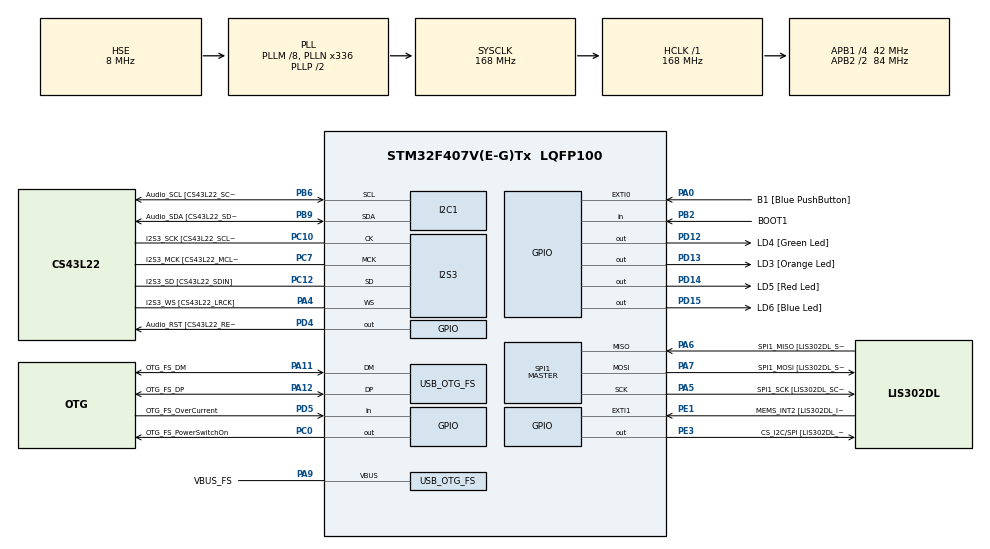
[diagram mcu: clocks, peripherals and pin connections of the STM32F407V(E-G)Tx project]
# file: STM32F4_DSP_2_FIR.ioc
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Dma.Request0=SPI3_TX
Dma.SPI3_TX.0.Direction=DMA_MEMORY_TO_PERIPH
Dma.SPI3_TX.0.FIFOMode=DMA_FIFOMODE_DISABLE
Dma.SPI3_TX.0.Instance=DMA1_Stream5
Dma.SPI3_TX.0.MemDataAlignment=DMA_MDATAALIGN_HALFWORD
Dma.SPI3_TX.0.MemInc=DMA_MINC_ENABLE
Dma.SPI3_TX.0.Mode=DMA_NORMAL
Dma.SPI3_TX.0.PeriphDataAlignment=DMA_PDATAALIGN_HALFWORD
Dma.SPI3_TX.0.PeriphInc=DMA_PINC_DISABLE
Dma.SPI3_TX.0.Priority=DMA_PRIORITY_HIGH
I2S3.AudioFreq-Half_Duplex_Master=I2S_AUDIOFREQ_96K
I2S3.ErrorAudioFreq=-2.34 %
I2S3.ErrorAudioFreq-Half_Duplex_Master=0.8 %
I2S3.FullDuplexMode=I2S_FULLDUPLEXMODE_DISABLE
I2S3.Instance=SPI$Index
I2S3.RealAudioFreq=93.75 KHz
I2S3.RealAudioFreq-Half_Duplex_Master=96.774 KHz
I2S3.VirtualMode=I2S_MODE_MASTER
Mcu.Family=STM32F4
Mcu.Name=STM32F407V(E-G)Tx
Mcu.Package=LQFP100
NVIC.DMA1_Stream5_IRQn=true\:0\:0\:false\:false\:true\:false\:true\:true
NVIC.OTG_FS_IRQn=true\:0\:0\:false\:false\:true\:true\:true\:true
NVIC.PriorityGroup=NVIC_PRIORITYGROUP_0
PA0-WKUP.GPIO_Label=B1 [Blue PushButton]
PA0-WKUP.GPIO_ModeDefaultEXTI=GPIO_MODE_EVT_RISING
PA0-WKUP.GPIO_PuPd=GPIO_NOPULL
PA0-WKUP.Signal=GPXTI0
PA10.GPIO_Label=OTG_FS_ID
PA10.GPIO_Mode=GPIO_MODE_AF_PP
PA10.GPIO_PuPd=GPIO_NOPULL
PA10.GPIO_Speed=GPIO_SPEED_FREQ_LOW
PA10.Signal=USB_OTG_FS_ID
PA11.GPIO_Label=OTG_FS_DM
PA11.GPIO_Mode=GPIO_MODE_AF_PP
PA11.GPIO_PuPd=GPIO_NOPULL
PA11.GPIO_Speed=GPIO_SPEED_FREQ_LOW
PA11.Mode=Host_Only
PA11.Signal=USB_OTG_FS_DM
PA12.GPIO_Label=OTG_FS_DP
PA12.GPIO_Mode=GPIO_MODE_AF_PP
PA12.GPIO_PuPd=GPIO_NOPULL
PA12.GPIO_Speed=GPIO_SPEED_FREQ_LOW
PA12.Mode=Host_Only
PA12.Signal=USB_OTG_FS_DP
PA13.GPIO_Label=SWDIO
PA13.Mode=Serial_Wire
PA13.Signal=SYS_JTMS-SWDIO
PA14.GPIO_Label=SWCLK
PA14.Mode=Serial_Wire
PA14.Signal=SYS_JTCK-SWCLK
PA4.GPIO_Label=I2S3_WS [CS43L22_LRCK]
PA4.GPIO_Mode=GPIO_MODE_AF_PP
PA4.GPIO_PuPd=GPIO_NOPULL
PA4.GPIO_Speed=GPIO_SPEED_FREQ_LOW
PA4.Mode=Half_Duplex_Master
PA4.Signal=I2S3_WS
PA5.GPIO_Label=SPI1_SCK [LIS302DL_SCL/SPC]
PA5.GPIO_Mode=GPIO_MODE_AF_PP
PA5.GPIO_PuPd=GPIO_NOPULL
PA5.GPIO_Speed=GPIO_SPEED_FREQ_LOW
PA5.Mode=Full_Duplex_Master
PA5.Signal=SPI1_SCK
PA6.GPIO_Label=SPI1_MISO [LIS302DL_SDO]
PA6.GPIO_Mode=GPIO_MODE_AF_PP
PA6.GPIO_PuPd=GPIO_NOPULL
PA6.GPIO_Speed=GPIO_SPEED_FREQ_LOW
PA6.Mode=Full_Duplex_Master
PA6.Signal=SPI1_MISO
PA7.GPIO_Label=SPI1_MOSI [LIS302DL_SDA/SDI/SDO]
PA7.GPIO_Mode=GPIO_MODE_AF_PP
PA7.GPIO_PuPd=GPIO_NOPULL
PA7.GPIO_Speed=GPIO_SPEED_FREQ_LOW
PA7.Mode=Full_Duplex_Master
PA7.Signal=SPI1_MOSI
PA9.GPIO_Label=VBUS_FS
PA9.GPIO_Mode=GPIO_MODE_INPUT
PA9.GPIO_PuPd=GPIO_NOPULL
PA9.Mode=Activate_VBUS
PA9.Signal=USB_OTG_FS_VBUS
PB10.GPIO_Label=CLK_IN [MP45DT02_CLK]
PB10.GPIO_Mode=GPIO_MODE_AF_PP
PB10.GPIO_PuPd=GPIO_NOPULL
PB10.GPIO_Speed=GPIO_SPEED_FREQ_LOW
PB10.Signal=I2S2_CK
PB2.GPIO_Label=BOOT1
PB2.GPIO_Mode=GPIO_MODE_INPUT
PB2.GPIO_PuPd=GPIO_NOPULL
PB2.Signal=GPIO_Input
PB3.GPIO_Label=SWO
PB3.Signal=SYS_JTDO-SWO
PB6.GPIO_Label=Audio_SCL [CS43L22_SCL]
PB6.GPIO_Mode=GPIO_MODE_AF_OD
PB6.GPIO_Pu=GPIO_PULLUP
PB6.GPIO_PuPd=GPIO_NOPULL
PB6.GPIO_Speed=GPIO_SPEED_FREQ_LOW
PB6.Mode=I2C
PB6.Signal=I2C1_SCL
PB9.GPIO_Label=Audio_SDA [CS43L22_SDA]
PB9.GPIO_Mode=GPIO_MODE_AF_OD
PB9.GPIO_Pu=GPIO_PULLUP
PB9.GPIO_PuPd=GPIO_NOPULL
PB9.GPIO_Speed=GPIO_SPEED_FREQ_LOW
PB9.Mode=I2C
PB9.Signal=I2C1_SDA
PC0.GPIO_Label=OTG_FS_PowerSwitchOn
PC0.GPIO_PuPd=GPIO_NOPULL
PC0.GPIO_Speed=GPIO_SPEED_FREQ_LOW
PC0.PinState=GPIO_PIN_SET
PC0.Signal=GPIO_Output
PC10.GPIO_Label=I2S3_SCK [CS43L22_SCLK]
PC10.GPIO_Mode=GPIO_MODE_AF_PP
PC10.GPIO_PuPd=GPIO_NOPULL
PC10.GPIO_Speed=GPIO_SPEED_FREQ_LOW
PC10.Mode=Half_Duplex_Master
PC10.Signal=I2S3_CK
PC12.GPIO_Label=I2S3_SD [CS43L22_SDIN]
PC12.GPIO_Mode=GPIO_MODE_AF_PP
PC12.GPIO_PuPd=GPIO_NOPULL
PC12.GPIO_Speed=GPIO_SPEED_FREQ_LOW
PC12.Mode=Half_Duplex_Master
PC12.Signal=I2S3_SD
PC14-OSC32_IN.GPIO_Label=PC14-OSC32_IN
PC14-OSC32_IN.Mode=LSE-External-Oscillator
PC14-OSC32_IN.Signal=RCC_OSC32_IN
PC15-OSC32_OUT.GPIO_Label=PC15-OSC32_OUT
PC15-OSC32_OUT.Mode=LSE-External-Oscillator
PC15-OSC32_OUT.Signal=RCC_OSC32_OUT
PC3.GPIO_Label=PDM_OUT [MP45DT02_DOUT]
PC3.GPIO_Mode=GPIO_MODE_AF_PP
PC3.GPIO_PuPd=GPIO_NOPULL
PC3.GPIO_Speed=GPIO_SPEED_FREQ_LOW
PC3.Signal=I2S2_SD
PC7.GPIO_Label=I2S3_MCK [CS43L22_MCLK]
PC7.GPIO_Mode=GPIO_MODE_AF_PP
PC7.GPIO_PuPd=GPIO_NOPULL
PC7.GPIO_Speed=GPIO_SPEED_FREQ_LOW
PC7.Mode=Master_Clock_Activated
PC7.Signal=I2S3_MCK
PD12.GPIO_Label=LD4 [Green Led]
PD12.GPIO_PuPd=GPIO_NOPULL
PD12.GPIO_Speed=GPIO_SPEED_FREQ_LOW
PD12.Signal=GPIO_Output
PD13.GPIO_Label=LD3 [Orange Led]
PD13.GPIO_PuPd=GPIO_NOPULL
PD13.GPIO_Speed=GPIO_SPEED_FREQ_LOW
PD13.Signal=GPIO_Output
PD14.GPIO_Label=LD5 [Red Led]
PD14.GPIO_PuPd=GPIO_NOPULL
PD14.GPIO_Speed=GPIO_SPEED_FREQ_LOW
PD14.Signal=GPIO_Output
PD15.GPIO_Label=LD6 [Blue Led]
PD15.GPIO_PuPd=GPIO_NOPULL
PD15.GPIO_Speed=GPIO_SPEED_FREQ_LOW
PD15.Signal=GPIO_Output
PD4.GPIO_Label=Audio_RST [CS43L22_RESET]
PD4.GPIO_PuPd=GPIO_NOPULL
PD4.GPIO_Speed=GPIO_SPEED_FREQ_LOW
PD4.Signal=GPIO_Output
PD5.GPIO_Label=OTG_FS_OverCurrent
PD5.GPIO_Mode=GPIO_MODE_INPUT
PD5.GPIO_PuPd=GPIO_NOPULL
PD5.Signal=GPIO_Input
PE1.GPIO_Label=MEMS_INT2 [LIS302DL_INT2]
PE1.GPIO_ModeDefaultEXTI=GPIO_MODE_EVT_RISING
PE1.GPIO_PuPd=GPIO_NOPULL
PE1.Signal=GPXTI1
PE3.GPIO_Label=CS_I2C/SPI [LIS302DL_CS_I2C/SPI]
PE3.GPIO_PuPd=GPIO_NOPULL
PE3.GPIO_Speed=GPIO_SPEED_FREQ_LOW
PE3.Signal=GPIO_Output
PH0-OSC_IN.GPIO_Label=PH0-OSC_IN
PH0-OSC_IN.Mode=HSE-External-Oscillator
PH0-OSC_IN.Signal=RCC_OSC_IN
PH1-OSC_OUT.GPIO_Label=PH1-OSC_OUT
PH1-OSC_OUT.Mode=HSE-External-Oscillator
PH1-OSC_OUT.Signal=RCC_OSC_OUT
ProjectManager.HeapSize=0x200
ProjectManager.StackSize=0x400
ProjectManager.TargetToolchain=STM32CubeIDE
RCC.48MHZClocksFreq_Value=48000000
RCC.AHBFreq_Value=168000000
RCC.APB1CLKDivider=RCC_HCLK_DIV4
RCC.APB1Freq_Value=42000000
RCC.APB1TimFreq_Value=84000000
RCC.APB2CLKDivider=RCC_HCLK_DIV2
RCC.APB2Freq_Value=84000000
RCC.APB2TimFreq_Value=168000000
RCC.CortexFreq_Value=168000000
RCC.HCLKFreq_Value=168000000
RCC.HSE_VALUE=8000000
RCC.HSI_VALUE=16000000
RCC.PLLM=8
RCC.PLLN=336
RCC.PLLQ=7
RCC.SYSCLKFreq_VALUE=168000000
RCC.SYSCLKSource=RCC_SYSCLKSOURCE_PLLCLK
RCC.VCOOutputFreq_Value=336000000
SPI1.BaudRatePrescaler-Full_Duplex_Master=SPI_BAUDRATEPRESCALER_2
SPI1.CalculateBaudRate-Full_Duplex_Master=42.0 MBits/s
SPI1.Direction=SPI_DIRECTION_2LINES
SPI1.Mode=SPI_MODE_MASTER
SPI1.Mode-Full_Duplex_Master=SPI_MODE_MASTER
SPI1.VirtualType=VM_MASTER
USB_HOST.BSP.number=1
USB_HOST.USBH_HandleTypeDef-CDC_FS=hUsbHostFS
USB_HOST.VirtualModeFS=Cdc
USB_HOST0.BSP.STBoard=false
USB_HOST0.BSP.api=Unknown
USB_HOST0.BSP.instance=PC0
USB_HOST0.BSP.ip=GPIO
USB_HOST0.BSP.mode=Output
USB_HOST0.BSP.name=Drive_VBUS_FS
USB_HOST0.BSP.solution=PC0
USB_OTG_FS.VirtualMode=Host_Only
USB_OTG_FS.phy_itface=HCD_PHY_EMBEDDED
VP_USB_HOST_VS_USB_HOST_CDC_FS.Mode=CDC_FS
board=STM32F407G-DISC1

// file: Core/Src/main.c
/* USER CODE BEGIN Header */
/**
  ******************************************************************************
  * @file           : main.c
  * @brief          : Main program body
  ******************************************************************************
  * @attention
  *
  * Copyright (c) 2025 STMicroelectronics.
  * All rights reserved.
  *
  * This software is licensed under terms that can be found in the LICENSE file
  * in the root directory of this software component.
  * If no LICENSE file comes with this software, it is provided AS-IS.
  *
  ******************************************************************************
  */
/* USER CODE END Header */
#include "main.h"
#include "usb_host.h"

/* USER CODE BEGIN Includes */
#include "stm32f4_discovery_audio.h"
#include "arm_math.h"

/* USER CODE END Includes */

/* USER CODE BEGIN PD */
#define SAMPLING_FREQ 8000.0		//BSP_audio_out sampling frequency

	//--- FIR related PD ---
#define TEST_LENGTH_SAMPLES	1024	//Test signal length
									//Turi dalintis is BLOCK_SIZE
#define BLOCK_SIZE		32			//Block size/per one cycle
#define NUM_TAPS		31			//Filtro eile (is MATLAB failo)
//--- FIR related PD END ---

/* USER CODE END PD */

I2C_HandleTypeDef hi2c1;

I2S_HandleTypeDef hi2s3;
DMA_HandleTypeDef hdma_spi3_tx;

SPI_HandleTypeDef hspi1;

/* USER CODE BEGIN PV */
static int16_t OutputBuffer[TEST_LENGTH_SAMPLES*2];		//Output Buffer, left+right

	//--- FIR related PV ---
static float32_t *inputF32, *outputF32;
static float32_t testInput_f32[TEST_LENGTH_SAMPLES];	//FIR input signal buffer
static float32_t testOutput_f32[TEST_LENGTH_SAMPLES];	//FIR output signal buffer
static float32_t firStateF32[BLOCK_SIZE + NUM_TAPS -1];	//State buffer

const float32_t firCoeffs32[NUM_TAPS] = {
0.000000,0.000088,0.000407,0.001067,0.002211,0.003997,0.006560,0.009975,
0.014214,0.019124,0.024416,0.029690,0.034482,0.038321,0.040806,0.041667,
0.040806,0.038321,0.034482,0.029690,0.024416,0.019124,0.014214,0.009975,
0.006560,0.003997,0.002211,0.001067,0.000407,0.000088,0.000088
};

uint32_t blockSize = BLOCK_SIZE;
uint32_t numBlocks = TEST_LENGTH_SAMPLES/BLOCK_SIZE;
	//--- FIR related PV END ---

/* USER CODE END PV */

void SystemClock_Config(void);
static void MX_GPIO_Init(void);
static void MX_DMA_Init(void);
static void MX_I2C1_Init(void);
static void MX_I2S3_Init(void);
static void MX_SPI1_Init(void);
void MX_USB_HOST_Process(void);

int main(void)
{

  /* USER CODE BEGIN 1 */
	//--- FIR variables ---
		arm_fir_instance_f32 FiltrasStruct;

		//Initialize input and output buffer pointers
		inputF32 = &testInput_f32[0];
		outputF32 = &testOutput_f32[0];

		//Call FIR init function to initialize the instance structure
		arm_fir_init_f32(&FiltrasStruct, NUM_TAPS, (float32_t *)&firCoeffs32[0], &firStateF32[0], blockSize);

  /* USER CODE END 1 */

  /* MCU Configuration--------------------------------------------------------*/

  /* Reset of all peripherals, Initializes the Flash interface and the Systick. */
  HAL_Init();

  /* Configure the system clock */
  SystemClock_Config();

  /* Initialize all configured peripherals */
  MX_GPIO_Init();
  MX_DMA_Init();
  MX_I2C1_Init();
  MX_I2S3_Init();
  MX_SPI1_Init();
  MX_USB_HOST_Init();
  /* USER CODE BEGIN 2 */

  /*** Initialize the Audio codec and all related peripherals (I2S, I2C, IOExpander, IOs...) ***/
        if(BSP_AUDIO_OUT_Init(OUTPUT_DEVICE_AUTO, 80, SAMPLING_FREQ) != AUDIO_OK)
        {
        	Error_Handler();
        }

    /*** Test Signal generation ***/
        for(int index = 0; index < TEST_LENGTH_SAMPLES; index++)
        {
        	//366Hz
      	  //testInput_f32[index] = ( 30000*sin(8*2*PI*index/TEST_LENGTH_SAMPLES) );
        	//732Hz + 11.6kHz
      	  testInput_f32[index] = ( 30000*sin(16*2*PI*index/TEST_LENGTH_SAMPLES) + 15000*sin(254*2*PI*index/TEST_LENGTH_SAMPLES) );
        }

    /*** Call the FIR process function for every blockSize samples ***/

        for(int i=0; i<numBlocks; i++)
        {
      	  arm_fir_f32(&FiltrasStruct, inputF32 + (i * blockSize), outputF32 + (i * blockSize), blockSize);
        }

    /*** Fill Output Buffer ***/
        for(int i = 0; i < TEST_LENGTH_SAMPLES; i++)
        {
      	  OutputBuffer[i<<1] = (int16_t)testInput_f32[i];		//Test signal
      	  OutputBuffer[(i<<1)+1] = (int16_t)testOutput_f32[i];	//After FIR
        }

    /*** Start Audio play ***/
        BSP_AUDIO_OUT_Play((uint16_t*)&OutputBuffer[0], TEST_LENGTH_SAMPLES*2);
        HAL_GPIO_WritePin(LD4_GPIO_Port, LD4_Pin, GPIO_PIN_SET);

  /* USER CODE END 2 */

  /* Infinite loop */
  /* USER CODE BEGIN WHILE */
  while (1)
  {
	  HAL_GPIO_TogglePin(LD4_GPIO_Port, LD4_Pin);
	  HAL_Delay(250);

    /* USER CODE END WHILE */
    MX_USB_HOST_Process();

  }
}

void SystemClock_Config(void)
{
  RCC_OscInitTypeDef RCC_OscInitStruct = {0};
  RCC_ClkInitTypeDef RCC_ClkInitStruct = {0};

  /** Configure the main internal regulator output voltage
  */
  __HAL_RCC_PWR_CLK_ENABLE();
  __HAL_PWR_VOLTAGESCALING_CONFIG(PWR_REGULATOR_VOLTAGE_SCALE1);

  /** Initializes the RCC Oscillators according to the specified parameters
  * in the RCC_OscInitTypeDef structure.
  */
  RCC_OscInitStruct.OscillatorType = RCC_OSCILLATORTYPE_HSE;
  RCC_OscInitStruct.HSEState = RCC_HSE_ON;
  RCC_OscInitStruct.PLL.PLLState = RCC_PLL_ON;
  RCC_OscInitStruct.PLL.PLLSource = RCC_PLLSOURCE_HSE;
  RCC_OscInitStruct.PLL.PLLM = 8;
  RCC_OscInitStruct.PLL.PLLN = 336;
  RCC_OscInitStruct.PLL.PLLP = RCC_PLLP_DIV2;
  RCC_OscInitStruct.PLL.PLLQ = 7;
  if (HAL_RCC_OscConfig(&RCC_OscInitStruct) != HAL_OK)
  {
    Error_Handler();
  }

  /** Initializes the CPU, AHB and APB buses clocks
  */
  RCC_ClkInitStruct.ClockType = RCC_CLOCKTYPE_HCLK|RCC_CLOCKTYPE_SYSCLK
                              |RCC_CLOCKTYPE_PCLK1|RCC_CLOCKTYPE_PCLK2;
  RCC_ClkInitStruct.SYSCLKSource = RCC_SYSCLKSOURCE_PLLCLK;
  RCC_ClkInitStruct.AHBCLKDivider = RCC_SYSCLK_DIV1;
  RCC_ClkInitStruct.APB1CLKDivider = RCC_HCLK_DIV4;
  RCC_ClkInitStruct.APB2CLKDivider = RCC_HCLK_DIV2;

  if (HAL_RCC_ClockConfig(&RCC_ClkInitStruct, FLASH_LATENCY_5) != HAL_OK)
  {
    Error_Handler();
  }
}

static void MX_I2C1_Init(void)
{

  hi2c1.Instance = I2C1;
  hi2c1.Init.ClockSpeed = 100000;
  hi2c1.Init.DutyCycle = I2C_DUTYCYCLE_2;
  hi2c1.Init.OwnAddress1 = 0;
  hi2c1.Init.AddressingMode = I2C_ADDRESSINGMODE_7BIT;
  hi2c1.Init.DualAddressMode = I2C_DUALADDRESS_DISABLE;
  hi2c1.Init.OwnAddress2 = 0;
  hi2c1.Init.GeneralCallMode = I2C_GENERALCALL_DISABLE;
  hi2c1.Init.NoStretchMode = I2C_NOSTRETCH_DISABLE;
  if (HAL_I2C_Init(&hi2c1) != HAL_OK)
  {
    Error_Handler();
  }

}

static void MX_I2S3_Init(void)
{

  hi2s3.Instance = SPI3;
  hi2s3.Init.Mode = I2S_MODE_MASTER_TX;
  hi2s3.Init.Standard = I2S_STANDARD_PHILIPS;
  hi2s3.Init.DataFormat = I2S_DATAFORMAT_16B;
  hi2s3.Init.MCLKOutput = I2S_MCLKOUTPUT_ENABLE;
  hi2s3.Init.AudioFreq = I2S_AUDIOFREQ_96K;
  hi2s3.Init.CPOL = I2S_CPOL_LOW;
  hi2s3.Init.ClockSource = I2S_CLOCK_PLL;
  hi2s3.Init.FullDuplexMode = I2S_FULLDUPLEXMODE_DISABLE;
  if (HAL_I2S_Init(&hi2s3) != HAL_OK)
  {
    Error_Handler();
  }

}

static void MX_SPI1_Init(void)
{

  /* SPI1 parameter configuration*/
  hspi1.Instance = SPI1;
  hspi1.Init.Mode = SPI_MODE_MASTER;
  hspi1.Init.Direction = SPI_DIRECTION_2LINES;
  hspi1.Init.DataSize = SPI_DATASIZE_8BIT;
  hspi1.Init.CLKPolarity = SPI_POLARITY_LOW;
  hspi1.Init.CLKPhase = SPI_PHASE_1EDGE;
  hspi1.Init.NSS = SPI_NSS_SOFT;
  hspi1.Init.BaudRatePrescaler = SPI_BAUDRATEPRESCALER_2;
  hspi1.Init.FirstBit = SPI_FIRSTBIT_MSB;
  hspi1.Init.TIMode = SPI_TIMODE_DISABLE;
  hspi1.Init.CRCCalculation = SPI_CRCCALCULATION_DISABLE;
  hspi1.Init.CRCPolynomial = 10;
  if (HAL_SPI_Init(&hspi1) != HAL_OK)
  {
    Error_Handler();
  }

}

static void MX_DMA_Init(void)
{

  /* DMA controller clock enable */
  __HAL_RCC_DMA1_CLK_ENABLE();

  /* DMA interrupt init */
  /* DMA1_Stream5_IRQn interrupt configuration */
  HAL_NVIC_SetPriority(DMA1_Stream5_IRQn, 0, 0);
  HAL_NVIC_EnableIRQ(DMA1_Stream5_IRQn);

}

static void MX_GPIO_Init(void)
{
  GPIO_InitTypeDef GPIO_InitStruct = {0};

  /* GPIO Ports Clock Enable */
  __HAL_RCC_GPIOE_CLK_ENABLE();
  __HAL_RCC_GPIOC_CLK_ENABLE();
  __HAL_RCC_GPIOH_CLK_ENABLE();
  __HAL_RCC_GPIOA_CLK_ENABLE();
  __HAL_RCC_GPIOB_CLK_ENABLE();
  __HAL_RCC_GPIOD_CLK_ENABLE();

  /*Configure GPIO pin Output Level */
  HAL_GPIO_WritePin(CS_I2C_SPI_GPIO_Port, CS_I2C_SPI_Pin, GPIO_PIN_RESET);

  /*Configure GPIO pin Output Level */
  HAL_GPIO_WritePin(OTG_FS_PowerSwitchOn_GPIO_Port, OTG_FS_PowerSwitchOn_Pin, GPIO_PIN_SET);

  /*Configure GPIO pin Output Level */
  HAL_GPIO_WritePin(GPIOD, LD4_Pin|LD3_Pin|LD5_Pin|LD6_Pin
                          |Audio_RST_Pin, GPIO_PIN_RESET);

  /*Configure GPIO pin : CS_I2C_SPI_Pin */
  GPIO_InitStruct.Pin = CS_I2C_SPI_Pin;
  GPIO_InitStruct.Mode = GPIO_MODE_OUTPUT_PP;
  GPIO_InitStruct.Pull = GPIO_NOPULL;
  GPIO_InitStruct.Speed = GPIO_SPEED_FREQ_LOW;
  HAL_GPIO_Init(CS_I2C_SPI_GPIO_Port, &GPIO_InitStruct);

  /*Configure GPIO pin : OTG_FS_PowerSwitchOn_Pin */
  GPIO_InitStruct.Pin = OTG_FS_PowerSwitchOn_Pin;
  GPIO_InitStruct.Mode = GPIO_MODE_OUTPUT_PP;
  GPIO_InitStruct.Pull = GPIO_NOPULL;
  GPIO_InitStruct.Speed = GPIO_SPEED_FREQ_LOW;
  HAL_GPIO_Init(OTG_FS_PowerSwitchOn_GPIO_Port, &GPIO_InitStruct);

  /*Configure GPIO pin : PDM_OUT_Pin */
  GPIO_InitStruct.Pin = PDM_OUT_Pin;
  GPIO_InitStruct.Mode = GPIO_MODE_AF_PP;
  GPIO_InitStruct.Pull = GPIO_NOPULL;
  GPIO_InitStruct.Speed = GPIO_SPEED_FREQ_LOW;
  GPIO_InitStruct.Alternate = GPIO_AF5_SPI2;
  HAL_GPIO_Init(PDM_OUT_GPIO_Port, &GPIO_InitStruct);

  /*Configure GPIO pin : B1_Pin */
  GPIO_InitStruct.Pin = B1_Pin;
  GPIO_InitStruct.Mode = GPIO_MODE_EVT_RISING;
  GPIO_InitStruct.Pull = GPIO_NOPULL;
  HAL_GPIO_Init(B1_GPIO_Port, &GPIO_InitStruct);

  /*Configure GPIO pin : BOOT1_Pin */
  GPIO_InitStruct.Pin = BOOT1_Pin;
  GPIO_InitStruct.Mode = GPIO_MODE_INPUT;
  GPIO_InitStruct.Pull = GPIO_NOPULL;
  HAL_GPIO_Init(BOOT1_GPIO_Port, &GPIO_InitStruct);

  /*Configure GPIO pin : CLK_IN_Pin */
  GPIO_InitStruct.Pin = CLK_IN_Pin;
  GPIO_InitStruct.Mode = GPIO_MODE_AF_PP;
  GPIO_InitStruct.Pull = GPIO_NOPULL;
  GPIO_InitStruct.Speed = GPIO_SPEED_FREQ_LOW;
  GPIO_InitStruct.Alternate = GPIO_AF5_SPI2;
  HAL_GPIO_Init(CLK_IN_GPIO_Port, &GPIO_InitStruct);

  /*Configure GPIO pins : LD4_Pin LD3_Pin LD5_Pin LD6_Pin
                           Audio_RST_Pin */
  GPIO_InitStruct.Pin = LD4_Pin|LD3_Pin|LD5_Pin|LD6_Pin
                          |Audio_RST_Pin;
  GPIO_InitStruct.Mode = GPIO_MODE_OUTPUT_PP;
  GPIO_InitStruct.Pull = GPIO_NOPULL;
  GPIO_InitStruct.Speed = GPIO_SPEED_FREQ_LOW;
  HAL_GPIO_Init(GPIOD, &GPIO_InitStruct);

  /*Configure GPIO pin : OTG_FS_OverCurrent_Pin */
  GPIO_InitStruct.Pin = OTG_FS_OverCurrent_Pin;
  GPIO_InitStruct.Mode = GPIO_MODE_INPUT;
  GPIO_InitStruct.Pull = GPIO_NOPULL;
  HAL_GPIO_Init(OTG_FS_OverCurrent_GPIO_Port, &GPIO_InitStruct);

  /*Configure GPIO pin : MEMS_INT2_Pin */
  GPIO_InitStruct.Pin = MEMS_INT2_Pin;
  GPIO_InitStruct.Mode = GPIO_MODE_EVT_RISING;
  GPIO_InitStruct.Pull = GPIO_NOPULL;
  HAL_GPIO_Init(MEMS_INT2_GPIO_Port, &GPIO_InitStruct);

}

/* USER CODE BEGIN 4 */

	/*** Back to Buffer beginning ***/
	void BSP_AUDIO_OUT_TransferComplete_CallBack(void)
	{
	  BSP_AUDIO_OUT_ChangeBuffer((uint16_t*)&OutputBuffer[0], TEST_LENGTH_SAMPLES*2);
	  HAL_GPIO_TogglePin(LD3_GPIO_Port, LD3_Pin);
	}

/* USER CODE END 4 */

void Error_Handler(void)
{
  /* USER CODE BEGIN Error_Handler_Debug */
  /* User can add his own implementation to report the HAL error return state */
  __disable_irq();
  HAL_GPIO_WritePin(LD5_GPIO_Port, LD5_Pin, GPIO_PIN_SET);
  while (1)
  {
  }
  /* USER CODE END Error_Handler_Debug */
}
